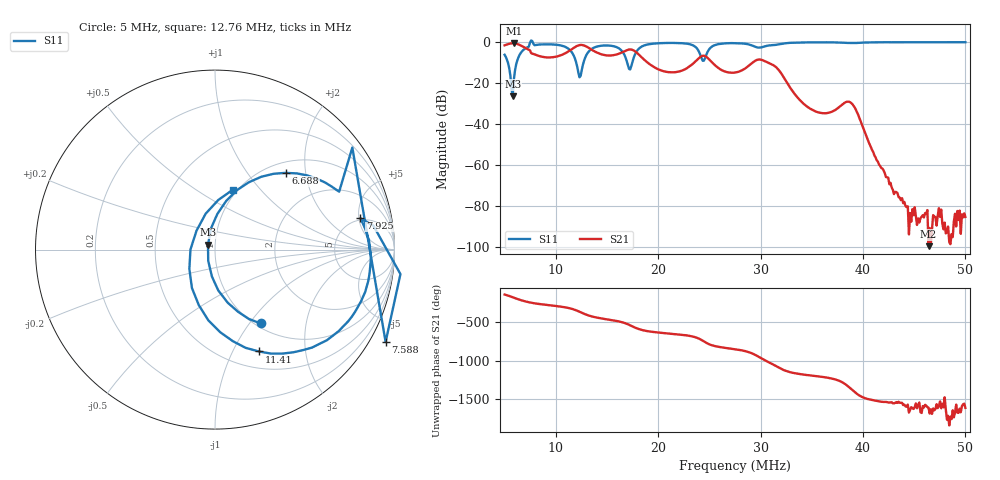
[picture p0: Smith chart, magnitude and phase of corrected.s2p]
! S11/S21 only; reverse parameters are placeholders. Device calibration unverified.
! [Saver CAL applied] C:\Users\aknya\MyProjects\rf-simulator\calibration2.cal | Ideal standards assumed | Input: NanoVNA F V2 profile | COM3 | 2026-09-08T12:15:02.5894542-04:00 | device calibration unverified
# HZ S RI R 50
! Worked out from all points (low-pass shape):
!   401 points, 5 MHz to 50 MHz, reference 50 ohm
!   highest |S21| = -0.69 dB at 5.9 MHz (marker M1); lowest = -99.7 dB at 46.4 MHz (marker M2)
!   |S21| within 3 dB of the highest: start of sweep to 7.295 MHz; 11.53 MHz to 13.46 MHz (1.928 MHz wide, 15.4 % of centre)
!   lowest |S11| = -26.5 dB at 5.787 MHz (marker M3), VSWR 1.10, Z = 46.2 + j2.49 ohm
!   |S11| at or under -10 dB: 5.313 MHz to 6.185 MHz (871.5 kHz wide, 15.2 % of centre); 11.98 MHz to 12.72 MHz (731.1 kHz wide, 5.92 % of centre); 16.96 MHz to 17.47 MHz (513.3 kHz wide, 2.98 % of centre)
!   S12 and S22 are empty: the file has one direction only
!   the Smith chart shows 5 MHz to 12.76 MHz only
!   S11 on the Smith chart (normalised r, x): 5 MHz: 1.06, -1.13; 6.688 MHz: 1.20, +1.55; 7.588 MHz: -0.63, -3.85; 7.925 MHz: 4.69, +5.24; 11.41 MHz: 0.69, -1.27; 12.76 MHz: 0.95, +0.72
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5000000  0.2537 -0.4114  -0.6476 -0.5059  0 0  0 0
5787500  -0.039 0.0269  -0.922 -0.0506  0 0  0 0
5900000  -0.0229 0.1171  -0.9227 0.0392  0 0  0 0
6687500  0.3936 0.4275  -0.6156 0.4956  0 0  0 0
7587500  0.9506 -0.5145  -0.2164 0.4886  0 0  0 0
7925000  0.8099 0.1751  -0.1155 0.4808  0 0  0 0
1.14125e7  0.2449 -0.5677  0.4919 0.3847  0 0  0 0
1.25375e7  -0.0519 0.2002  0.7969 -0.2625  0 0  0 0
1.27625e7  0.0993 0.3335  0.6947 -0.4244  0 0  0 0
1.49e7  0.8029 -0.1423  -0.0945 -0.4588  0 0  0 0
1.63625e7  0.3352 -0.5366  -0.3945 -0.3655  0 0  0 0
1.715e7  -0.2029 -0.0821  -0.6456 -0.0691  0 0  0 0
1.805e7  0.3656 0.5474  -0.3438 0.3694  0 0  0 0
2.0075e7  0.9233 0.0529  0.0205 0.2094  0 0  0 0
2.42375e7  0.3016 -0.2567  0.4371 -0.0907  0 0  0 0
2.75e7  0.837 -0.4046  -0.1176 -0.1343  0 0  0 0
3.0875e7  0.7174 -0.3966  0.1749 0.2432  0 0  0 0
3.50375e7  0.7036 -0.6694  -0.00891 -0.0201  0 0  0 0
3.88625e7  0.5396 -0.764  0.0107 0.0302  0 0  0 0
4.2575e7  0.4411 -0.872  -8.06e-05 -0.000326  0 0  0 0
4.64e7  0.2916 -0.9352  -1.02e-05 -1.82e-06  0 0  0 0
5e7  0.1569 -0.9672  -5.33e-05 -7.63e-06  0 0  0 0
